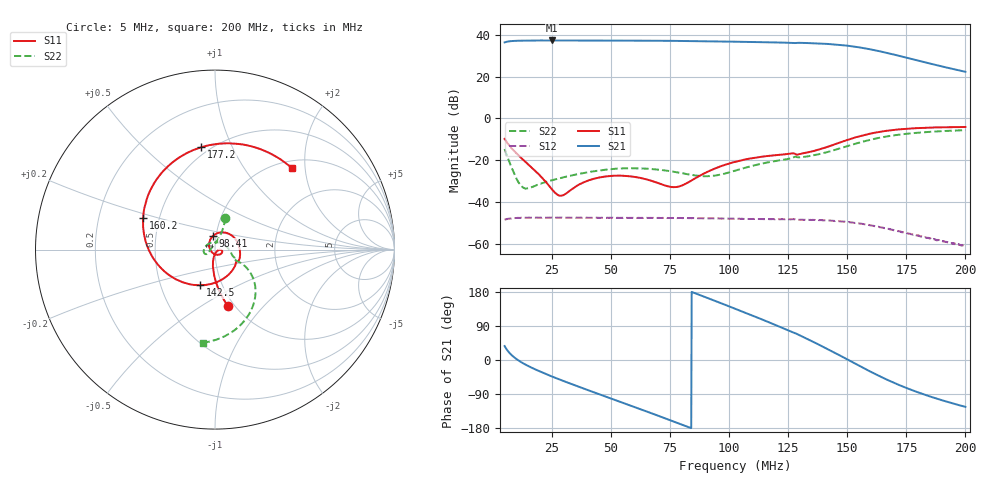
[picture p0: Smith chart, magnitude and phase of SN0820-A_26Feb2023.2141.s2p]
# Hz S DB R 50
! CMT, M5045, 22160017, 22.4.3/2
! Date: 2/26/2023 21:41:02
! Data: Format (Calibration Info)
! Freq	S11:dB/Ang(F2)	S21:dB/Ang(F2)	S12:dB/Ang(F2)	S22:dB/Ang(F2)
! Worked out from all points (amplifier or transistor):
!   1001 points, 5 MHz to 200 MHz, reference 50 ohm
!   highest |S21| = 37.4 dB at 24.89 MHz (marker M1)
!   |S21| within 3 dB of that: start of sweep to 153.3 MHz
!   unconditionally stable (mu >= 1): start of sweep to end of sweep
!   at 37.37 MHz: K = 1.78, MAG = 37.4 dB, |S12| = -47.6 dB
!   at 102.5 MHz: K = 1.97, MAG = 36.8 dB, |S12| = -48.1 dB
!   at 200 MHz: K = 19.09, MAG = 25.8 dB, |S12| = -60.9 dB
!   S11 on the Smith chart (normalised r, x): 5 MHz: 0.93, -0.66; 98.41 MHz: 0.97, +0.15; 142.5 MHz: 0.78, -0.33; 160.2 MHz: 0.41, +0.18; 177.2 MHz: 0.45, +0.77; 200 MHz: 1.14, +1.70
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5000000  -9.80 -76.9  36.44 36.7  -48.55 39.3  -14.66 72.0
7925000  -14.23 -87.1  37.07 13.2  -47.97 15.6  -23.44 72.2
1.1435e7  -18.32 -94.0  37.26 -3.5  -47.69 -0.3  -31.43 103.1
1.748e7  -24.59 -100.0  37.35 -23.4  -47.55 -20.6  -32.46 170.3
2.489e7  -33.79 -84.5  37.37 -43.2  -47.51 -39.4  -29.67 -164.0
3.7565e7  -31.09 -1.5  37.34 -73.3  -47.58 -67.8  -26.38 -151.5
4.5365e7  -28.25 -7.4  37.32 -91.1  -47.67 -84.8  -24.94 -153.4
5.3165e7  -27.42 -22.3  37.29 -108.7  -47.64 -101.3  -24.07 -160.3
7.013e7  -31.05 -81.2  37.22 -147.4  -47.67 -137.6  -24.56 171.0
8.417e7  -29.71 161.9  37.10 179.7  -47.81 -169.2  -27.05 124.2
9.8405e7  -22.18 97.7  36.85 145.4  -48.02 158.3  -26.35 48.6
1.025e8  -20.82 83.3  36.77 135.5  -48.13 148.8  -25.04 30.3
1.11275e8  -18.76 52.0  36.60 113.7  -48.16 128.4  -22.32 2.6
1.1927e8  -17.66 20.0  36.43 93.3  -48.28 108.7  -20.49 -13.7
1.29215e8  -17.27 -31.6  36.25 67.1  -48.64 82.5  -18.64 -27.7
1.35065e8  -15.81 -66.0  36.05 49.5  -48.66 66.8  -17.81 -27.3
1.42475e8  -13.31 -113.0  35.65 26.4  -48.89 44.5  -15.87 -27.4
1.50665e8  -10.09 -159.1  34.78 -0.7  -49.66 18.2  -13.06 -31.8
1.6022e8  -7.17 156.2  33.02 -32.0  -51.34 -12.3  -10.10 -43.9
1.6763e8  -5.79 127.7  31.18 -54.2  -52.90 -33.6  -8.47 -55.7
1.77185e8  -4.80 97.7  28.52 -79.0  -55.52 -58.8  -7.13 -70.4
2e8  -4.10 46.9  22.35 -123.7  -60.90 -102.9  -5.62 -97.5
